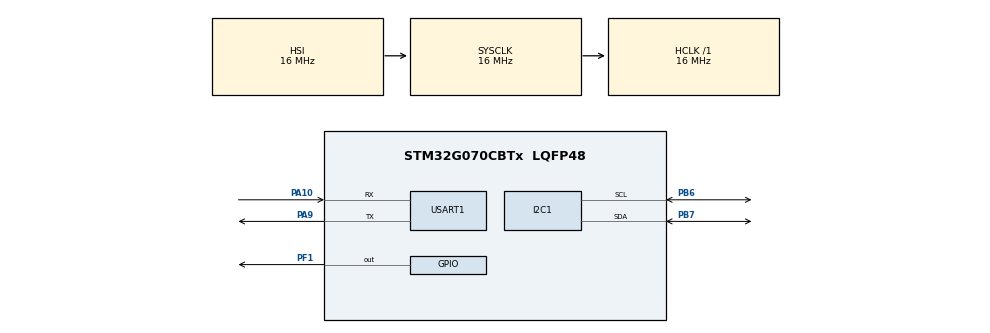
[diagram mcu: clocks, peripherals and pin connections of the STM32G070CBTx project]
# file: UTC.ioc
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I2C1.Timing=0x00503D58
Mcu.Family=STM32G0
Mcu.Name=STM32G070CBTx
Mcu.Package=LQFP48
PA10.Mode=Asynchronous
PA10.Signal=USART1_RX
PA9\ [PA11].Mode=Asynchronous
PA9\ [PA11].Signal=USART1_TX
PB6.Mode=I2C
PB6.Signal=I2C1_SCL
PB7.Mode=I2C
PB7.Signal=I2C1_SDA
PF1-OSC_OUT\ (PF1).Signal=GPIO_Output
ProjectManager.HeapSize=0x200
ProjectManager.StackSize=0x400
ProjectManager.TargetToolchain=STM32CubeIDE
RCC.AHBFreq_Value=16000000
RCC.CortexFreq_Value=16000000
RCC.EXTERNAL_CLOCK_VALUE=48000
RCC.HCLKFreq_Value=16000000
RCC.HSE_VALUE=8000000
RCC.HSI_VALUE=16000000
RCC.LSE_VALUE=32768
RCC.SYSCLKFreq_VALUE=16000000
RCC.VCOOutputFreq_Value=128000000
USART1.VirtualMode-Asynchronous=VM_ASYNC
VP_SYS_VS_PINREMAP.Mode=PINREMAP
board=custom

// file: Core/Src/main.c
/* USER CODE BEGIN Header */
/**
  ******************************************************************************
  * @file           : main.c
  * @brief          : Main program body
  ******************************************************************************
  * @attention
  *
  * Copyright (c) 2026 STMicroelectronics.
  * All rights reserved.
  *
  * This software is licensed under terms that can be found in the LICENSE file
  * in the root directory of this software component.
  * If no LICENSE file comes with this software, it is provided AS-IS.
  *
  ******************************************************************************
  */
/* USER CODE END Header */
#include "main.h"

/* USER CODE BEGIN Includes */
#include "utc.h"
#include <stdio.h>

/* USER CODE END Includes */

I2C_HandleTypeDef hi2c1;

UART_HandleTypeDef huart1;

void SystemClock_Config(void);
static void MX_GPIO_Init(void);
static void MX_I2C1_Init(void);
static void MX_USART1_UART_Init(void);

/* USER CODE BEGIN 0 */
int __io_putchar(int ch) {
    HAL_UART_Transmit(&huart1,
                      (uint8_t*)&ch,
                      1, HAL_MAX_DELAY);
    return ch;
}

/* USER CODE END 0 */

int main(void)
{

  /* MCU Configuration--------------------------------------------------------*/

  /* Reset of all peripherals, Initializes the Flash interface and the Systick. */
  HAL_Init();

  /* Configure the system clock */
  SystemClock_Config();

  /* Initialize all configured peripherals */
  MX_GPIO_Init();
  MX_I2C1_Init();
  MX_USART1_UART_Init();
  /* USER CODE BEGIN 2 */
  /* USER CODE BEGIN 2 */
  HAL_GPIO_WritePin(GPIOF, GPIO_PIN_1, GPIO_PIN_RESET);
  HAL_Delay(500);

  printf("UTC system ready! Type 'U' to read UTC\r\n");

     uint8_t rx;   // declare here
  /* USER CODE END 2 */

  /* Infinite loop */
  /* USER CODE BEGIN WHILE */
     utc_init();
  while (1)
  { printf("UTC timestamp: %lu\r\n", utc_get());
  printf("Date: %02d/%02d/%02d\r\n", utc_get_day(), utc_get_month(), utc_get_year());
      HAL_Delay(5000);

    /* USER CODE END WHILE */
	          }
    /* USER CODE BEGIN 3 */
  } // UTC update har second

  /* USER CODE END 3 */

void SystemClock_Config(void)
{
  RCC_OscInitTypeDef RCC_OscInitStruct = {0};
  RCC_ClkInitTypeDef RCC_ClkInitStruct = {0};

  /** Configure the main internal regulator output voltage
  */
  HAL_PWREx_ControlVoltageScaling(PWR_REGULATOR_VOLTAGE_SCALE1);

  /** Initializes the RCC Oscillators according to the specified parameters
  * in the RCC_OscInitTypeDef structure.
  */
  RCC_OscInitStruct.OscillatorType = RCC_OSCILLATORTYPE_HSI;
  RCC_OscInitStruct.HSIState = RCC_HSI_ON;
  RCC_OscInitStruct.HSIDiv = RCC_HSI_DIV1;
  RCC_OscInitStruct.HSICalibrationValue = RCC_HSICALIBRATION_DEFAULT;
  RCC_OscInitStruct.PLL.PLLState = RCC_PLL_NONE;
  if (HAL_RCC_OscConfig(&RCC_OscInitStruct) != HAL_OK)
  {
    Error_Handler();
  }

  /** Initializes the CPU, AHB and APB buses clocks
  */
  RCC_ClkInitStruct.ClockType = RCC_CLOCKTYPE_HCLK|RCC_CLOCKTYPE_SYSCLK
                              |RCC_CLOCKTYPE_PCLK1;
  RCC_ClkInitStruct.SYSCLKSource = RCC_SYSCLKSOURCE_HSI;
  RCC_ClkInitStruct.AHBCLKDivider = RCC_SYSCLK_DIV1;
  RCC_ClkInitStruct.APB1CLKDivider = RCC_HCLK_DIV1;

  if (HAL_RCC_ClockConfig(&RCC_ClkInitStruct, FLASH_LATENCY_0) != HAL_OK)
  {
    Error_Handler();
  }
}

static void MX_I2C1_Init(void)
{

  hi2c1.Instance = I2C1;
  hi2c1.Init.Timing = 0x00503D58;
  hi2c1.Init.OwnAddress1 = 0;
  hi2c1.Init.AddressingMode = I2C_ADDRESSINGMODE_7BIT;
  hi2c1.Init.DualAddressMode = I2C_DUALADDRESS_DISABLE;
  hi2c1.Init.OwnAddress2 = 0;
  hi2c1.Init.OwnAddress2Masks = I2C_OA2_NOMASK;
  hi2c1.Init.GeneralCallMode = I2C_GENERALCALL_DISABLE;
  hi2c1.Init.NoStretchMode = I2C_NOSTRETCH_DISABLE;
  if (HAL_I2C_Init(&hi2c1) != HAL_OK)
  {
    Error_Handler();
  }

  /** Configure Analogue filter
  */
  if (HAL_I2CEx_ConfigAnalogFilter(&hi2c1, I2C_ANALOGFILTER_ENABLE) != HAL_OK)
  {
    Error_Handler();
  }

  /** Configure Digital filter
  */
  if (HAL_I2CEx_ConfigDigitalFilter(&hi2c1, 0) != HAL_OK)
  {
    Error_Handler();
  }

}

static void MX_USART1_UART_Init(void)
{

  huart1.Instance = USART1;
  huart1.Init.BaudRate = 115200;
  huart1.Init.WordLength = UART_WORDLENGTH_8B;
  huart1.Init.StopBits = UART_STOPBITS_1;
  huart1.Init.Parity = UART_PARITY_NONE;
  huart1.Init.Mode = UART_MODE_TX_RX;
  huart1.Init.HwFlowCtl = UART_HWCONTROL_NONE;
  huart1.Init.OverSampling = UART_OVERSAMPLING_16;
  huart1.Init.OneBitSampling = UART_ONE_BIT_SAMPLE_DISABLE;
  huart1.Init.ClockPrescaler = UART_PRESCALER_DIV1;
  huart1.AdvancedInit.AdvFeatureInit = UART_ADVFEATURE_NO_INIT;
  if (HAL_UART_Init(&huart1) != HAL_OK)
  {
    Error_Handler();
  }
  if (HAL_UARTEx_SetTxFifoThreshold(&huart1, UART_TXFIFO_THRESHOLD_1_8) != HAL_OK)
  {
    Error_Handler();
  }
  if (HAL_UARTEx_SetRxFifoThreshold(&huart1, UART_RXFIFO_THRESHOLD_1_8) != HAL_OK)
  {
    Error_Handler();
  }
  if (HAL_UARTEx_DisableFifoMode(&huart1) != HAL_OK)
  {
    Error_Handler();
  }

}

static void MX_GPIO_Init(void)
{
  GPIO_InitTypeDef GPIO_InitStruct = {0};

  /* GPIO Ports Clock Enable */
  __HAL_RCC_GPIOF_CLK_ENABLE();
  __HAL_RCC_GPIOA_CLK_ENABLE();
  __HAL_RCC_GPIOB_CLK_ENABLE();

  /*Configure GPIO pin Output Level */
  HAL_GPIO_WritePin(GPIOF, GPIO_PIN_1, GPIO_PIN_RESET);

  /*Configure GPIO pin : PF1 */
  GPIO_InitStruct.Pin = GPIO_PIN_1;
  GPIO_InitStruct.Mode = GPIO_MODE_OUTPUT_PP;
  GPIO_InitStruct.Pull = GPIO_NOPULL;
  GPIO_InitStruct.Speed = GPIO_SPEED_FREQ_LOW;
  HAL_GPIO_Init(GPIOF, &GPIO_InitStruct);

}

void Error_Handler(void)
{
  __disable_irq();
  while (1)
  {
  }
}
